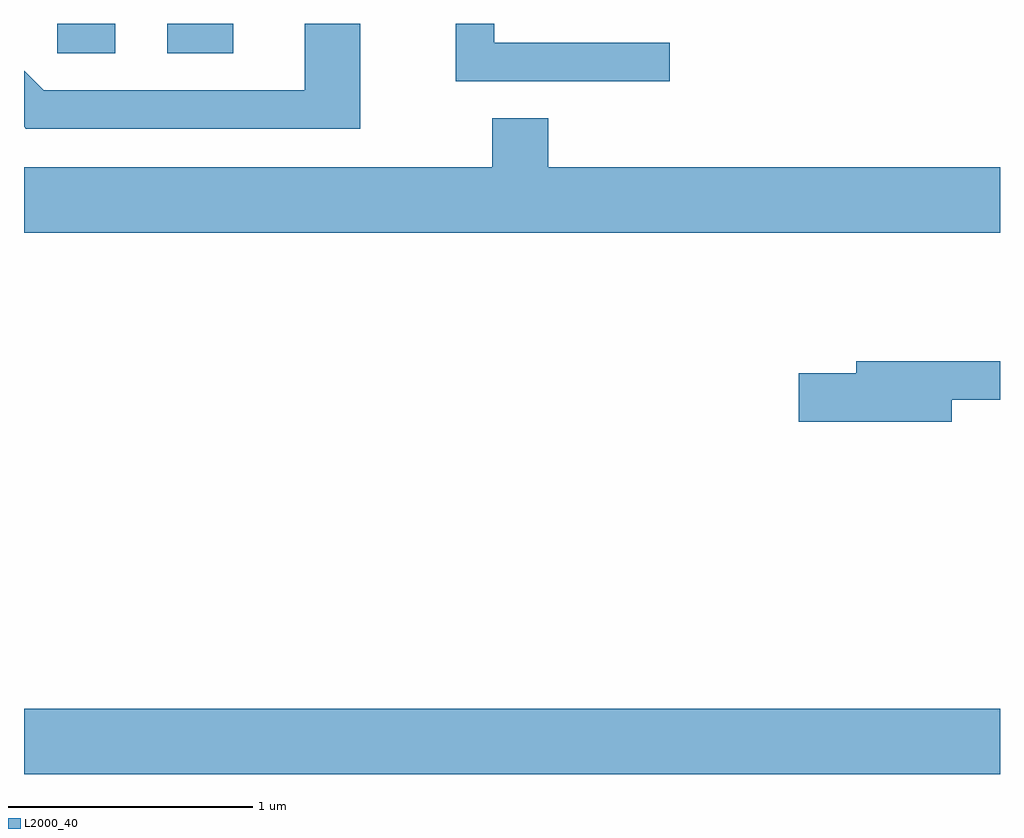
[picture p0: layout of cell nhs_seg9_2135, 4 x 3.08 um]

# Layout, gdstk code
import gdstk
lib = gdstk.Library(unit=1e-6, precision=1e-09)
def R(c, l, rs):  # rectangles x0, y0, x1, y1
    for r in rs: c.add(gdstk.rectangle(r[:2], r[2:], *l))
def P(c, l, *ps):  # polygons
    for p in ps: c.add(gdstk.Polygon(p, *l))
L2000_40 = (2000, 40)

nhs_seg9_2135 = lib.new_cell('nhs_seg9_2135')
R(nhs_seg9_2135, L2000_40, [(247.611,2007.356,251.611,2007.624), (247.748,2010.311,247.984,2010.432), (248.198,2010.311,248.469,2010.432)])
P(nhs_seg9_2135, L2000_40, [(248.989,2010.432),(248.761,2010.432),(248.761,2010.159),(247.692,2010.159),(247.611,2010.24),(247.611,2010.009),(247.619,2010.001),(248.989,2010.001)],
  [(250.258,2010.354),(249.539,2010.354),(249.539,2010.432),(249.381,2010.432),(249.381,2010.196),(250.258,2010.196)],
  [(251.611,2009.844),(249.759,2009.844),(249.759,2010.044),(249.531,2010.044),(249.531,2009.844),(247.611,2009.844),(247.611,2009.576),(251.611,2009.576)],
  [(251.414,2008.891),(251.611,2008.891),(251.611,2009.049),(251.021,2009.049),(251.021,2008.999),(250.786,2008.999),(250.786,2008.801),(251.414,2008.801)])

lib.write_gds('nhs_seg9_2135.gds')
